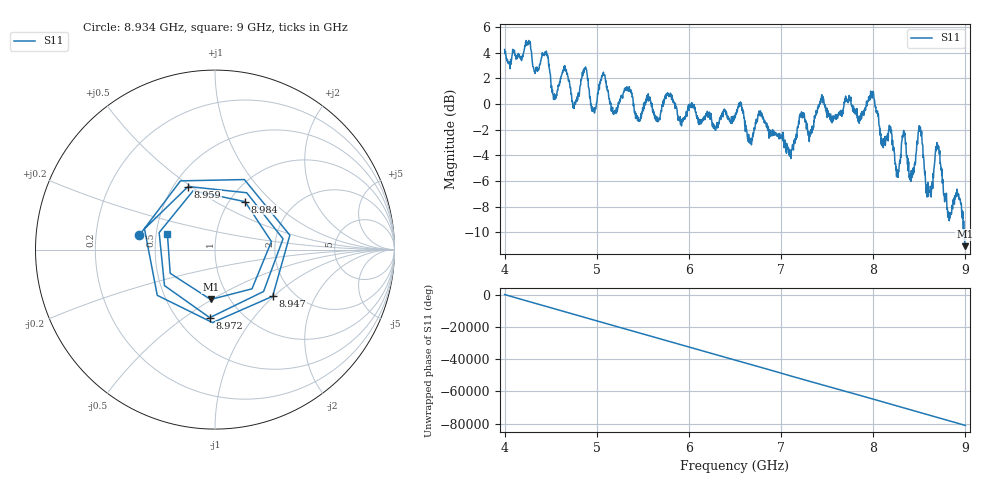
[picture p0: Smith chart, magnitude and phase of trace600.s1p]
! Created with skrf 1.8.0 (http://scikit-rf.org).
# Hz S RI R 50.0
!freq ReS11 ImS11
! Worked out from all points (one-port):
!   1601 points, 4 GHz to 9 GHz, reference 50 ohm
!   lowest |S11| = -11.1 dB at 8.994 GHz (marker M1), VSWR 1.77, Z = 40.9 - j24.7 ohm
!   |S11| at or under -10 dB: 8.983901 GHz to 8.985943 GHz (2.042 MHz wide, 0.0227 % of centre); 8.988199 GHz to end of sweep
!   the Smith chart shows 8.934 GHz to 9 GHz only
!   S11 on the Smith chart (normalised r, x): 8.934 GHz: 0.40, +0.08; 8.947 GHz: 1.57, -0.98; 8.959 GHz: 0.59, +0.49; 8.972 GHz: 0.71, -0.63; 8.984 GHz: 1.18, +0.70; 9 GHz: 0.57, +0.11
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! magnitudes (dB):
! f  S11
! 4 GHz  4.2
! 4.447 GHz  4.0
! 4.541 GHz  0.8
! 4.625 GHz  2.4
! 4.756 GHz  -0.2
! 4.869 GHz  2.8
! 4.959 GHz  -0.6
! 5.25 GHz  0.2
! 5.875 GHz  -0.9
! 6.5 GHz  -1.0
! 7.125 GHz  -3.2
! 7.225 GHz  -0.8
! 7.75 GHz  0.2
! 7.991 GHz  0.7
! 8.259 GHz  -5.7
! 8.328 GHz  -2.2
! 8.375 GHz  -4.2
! 8.509 GHz  -1.9
! 8.591 GHz  -6.5
! 8.697 GHz  -3.3
! 8.825 GHz  -9.1
! 8.934 GHz  -7.4
! 8.947 GHz  -7.7
! 8.959 GHz  -8.4
! 8.972 GHz  -8.4
! 8.984 GHz  -10.0
! 8.994 GHz  -11.1
! 9 GHz  -11.1
